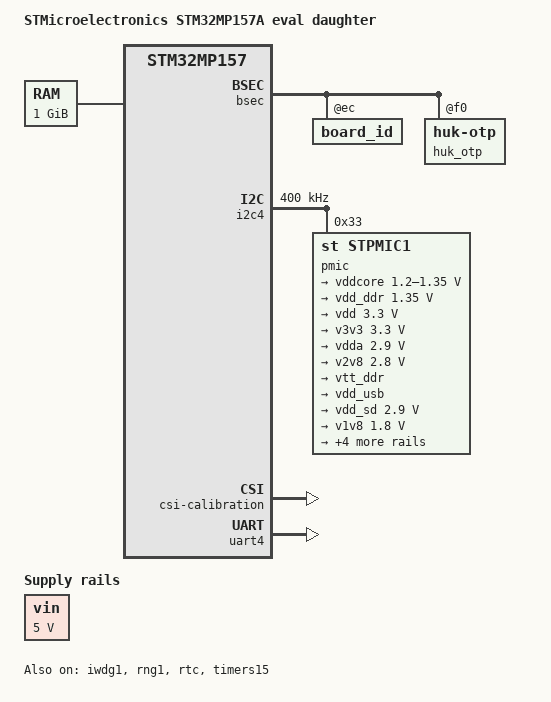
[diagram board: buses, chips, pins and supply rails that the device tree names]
// SPDX-License-Identifier: (GPL-2.0+ OR BSD-3-Clause)
/*
 * Copyright (C) STMicroelectronics 2017-2022 - All Rights Reserved
 * Author: Alexandre Torgue <alexandre.torgue@foss.st.com> for STMicroelectronics.
 */

/dts-v1/;

#include <dt-bindings/clock/stm32mp1-clksrc.h>
#include <dt-bindings/mfd/st,stpmic1.h>
#include <dt-bindings/power/stm32mp1-power.h>
#include <dt-bindings/soc/stm32mp-provisioning.h>
#include <dt-bindings/soc/stm32mp15-etzpc.h>

#include "stm32mp157.dtsi"
#include "stm32mp15xa.dtsi"
#include "stm32mp15-pinctrl.dtsi"
#include "stm32mp15xxaa-pinctrl.dtsi"

/ {

	model = "STMicroelectronics STM32MP157A eval daughter";
	compatible = "st,stm32mp157a-ed1", "st,stm32mp157";

	aliases {
		serial0 = &uart4;
	};

	chosen {
		stdout-path = "serial0:115200n8";
	};

	memory@c0000000 {
		device_type = "memory";
		reg = <0xC0000000 0x40000000>;
	};

	shadow-prov {
		compatible = "st,provisioning";
		hw2_prov {
			nvmem-cells = <&hw2_otp>;
			st,shadow-value = <0x000001E0>;
			st,shadow-lock = <STICKY_LOCK_SR>;
		};
	};

	vin: vin {
		compatible = "regulator-fixed";
		regulator-name = "vin";
		regulator-min-microvolt = <5000000>;
		regulator-max-microvolt = <5000000>;
		regulator-always-on;
	};
};

&bsec {
	board_id: board_id@ec {
		reg = <0xec 0x4>;
		st,non-secure-otp;
	};

	huk_otp: huk-otp@f0 {
		reg = <0xf0 0x10>;
	};
};

&clk_hse {
	st,digbypass;
};

&cpu0{
	cpu-supply = <&vddcore>;
};

&cpu1{
	cpu-supply = <&vddcore>;
};

&etzpc {
	st,decprot = <
		DECPROT(STM32MP1_ETZPC_USART1_ID, DECPROT_NS_RW, DECPROT_UNLOCK)
		DECPROT(STM32MP1_ETZPC_SPI6_ID, DECPROT_NS_RW, DECPROT_UNLOCK)
		DECPROT(STM32MP1_ETZPC_I2C4_ID, DECPROT_NS_RW, DECPROT_UNLOCK)
		DECPROT(STM32MP1_ETZPC_I2C6_ID, DECPROT_NS_RW, DECPROT_UNLOCK)
		DECPROT(STM32MP1_ETZPC_RNG1_ID, DECPROT_S_RW, DECPROT_UNLOCK)
		DECPROT(STM32MP1_ETZPC_HASH1_ID, DECPROT_NS_RW, DECPROT_UNLOCK)
		DECPROT(STM32MP1_ETZPC_DDRCTRL_ID, DECPROT_NS_R_S_W, DECPROT_LOCK)
		DECPROT(STM32MP1_ETZPC_DDRPHYC_ID, DECPROT_NS_R_S_W, DECPROT_LOCK)
		DECPROT(STM32MP1_ETZPC_STGENC_ID, DECPROT_S_RW, DECPROT_LOCK)
		DECPROT(STM32MP1_ETZPC_BKPSRAM_ID, DECPROT_S_RW, DECPROT_LOCK)
		DECPROT(STM32MP1_ETZPC_IWDG1_ID, DECPROT_S_RW, DECPROT_LOCK)
	>;
};

&i2c4 {
	compatible = "st,stm32mp15-i2c-non-secure";
	pinctrl-names = "default";
	pinctrl-0 = <&i2c4_pins_a>;
	i2c-scl-rising-time-ns = <185>;
	i2c-scl-falling-time-ns = <20>;
	clock-frequency = <400000>;
	status = "okay";

	pmic: stpmic@33 {
		compatible = "st,stpmic1";
		reg = <0x33>;
		interrupt-controller;
		#interrupt-cells = <2>;
		status = "okay";

		regulators {
			compatible = "st,stpmic1-regulators";
			buck1-supply = <&vin>;
			buck2-supply = <&vin>;
			buck3-supply = <&vin>;
			buck4-supply = <&vin>;
			ldo1-supply = <&v3v3>;
			ldo2-supply = <&v3v3>;
			ldo3-supply = <&vdd_ddr>;
			ldo4-supply = <&vin>;
			ldo5-supply = <&v3v3>;
			ldo6-supply = <&v3v3>;
			vref_ddr-supply = <&vin>;
			boost-supply = <&vin>;
			pwr_sw1-supply = <&bst_out>;
			pwr_sw2-supply = <&bst_out>;

			vddcore: buck1 {
				regulator-name = "vddcore";
				regulator-min-microvolt = <1200000>;
				regulator-max-microvolt = <1350000>;
				regulator-always-on;
				regulator-initial-mode = <0>;
				regulator-over-current-protection;
			};

			vdd_ddr: buck2 {
				regulator-name = "vdd_ddr";
				regulator-min-microvolt = <1350000>;
				regulator-max-microvolt = <1350000>;
				regulator-always-on;
				regulator-initial-mode = <0>;
				regulator-over-current-protection;
			};

			vdd: buck3 {
				regulator-name = "vdd";
				regulator-min-microvolt = <3300000>;
				regulator-max-microvolt = <3300000>;
				regulator-always-on;
				st,mask-reset;
				regulator-initial-mode = <0>;
				regulator-over-current-protection;
			};

			v3v3: buck4 {
				regulator-name = "v3v3";
				regulator-min-microvolt = <3300000>;
				regulator-max-microvolt = <3300000>;
				regulator-always-on;
				regulator-over-current-protection;
				regulator-initial-mode = <0>;
			};

			vdda: ldo1 {
				regulator-name = "vdda";
				regulator-min-microvolt = <2900000>;
				regulator-max-microvolt = <2900000>;
			};

			v2v8: ldo2 {
				regulator-name = "v2v8";
				regulator-min-microvolt = <2800000>;
				regulator-max-microvolt = <2800000>;
			};

			vtt_ddr: ldo3 {
				regulator-name = "vtt_ddr";
				regulator-always-on;
				regulator-over-current-protection;
				st,regulator-sink-source;
			};

			vdd_usb: ldo4 {
				regulator-name = "vdd_usb";
			};

			vdd_sd: ldo5 {
				regulator-name = "vdd_sd";
				regulator-min-microvolt = <2900000>;
				regulator-max-microvolt = <2900000>;
				regulator-boot-on;
			};

			v1v8: ldo6 {
				regulator-name = "v1v8";
				regulator-min-microvolt = <1800000>;
				regulator-max-microvolt = <1800000>;
			};

			vref_ddr: vref_ddr {
				regulator-name = "vref_ddr";
				regulator-always-on;
				regulator-over-current-protection;
			};

			bst_out: boost {
				regulator-name = "bst_out";
			};

			vbus_otg: pwr_sw1 {
				regulator-name = "vbus_otg";
			};

			vbus_sw: pwr_sw2 {
				regulator-name = "vbus_sw";
				regulator-active-discharge = <1>;
			};
		};
	};
};

&iwdg1 {
	timeout-sec = <32>;
	status = "okay";
};

&osc_calibration {
	csi-calibration {
		status = "okay";
	};

	hsi-calibration {
		status = "okay";
	};
};

&pwr_regulators {
	system_suspend_supported_soc_modes = <
		STM32_PM_CSLEEP_RUN
		STM32_PM_CSTOP_ALLOW_LP_STOP
		STM32_PM_CSTOP_ALLOW_LPLV_STOP
		STM32_PM_CSTOP_ALLOW_STANDBY_DDR_SR
	>;
	system_off_soc_mode = <STM32_PM_CSTOP_ALLOW_STANDBY_DDR_OFF>;
	vdd-supply = <&vdd>;
	vdd_3v3_usbfs-supply = <&vdd_usb>;
};

&rcc {
	st,clksrc = <
		CLK_MPU_PLL1P
		CLK_AXI_PLL2P
		CLK_MCU_PLL3P
		CLK_RTC_LSE
		CLK_MCO1_DISABLED
		CLK_MCO2_DISABLED
		CLK_CKPER_HSE
		CLK_FMC_ACLK
		CLK_QSPI_ACLK
		CLK_ETH_PLL4P
		CLK_SDMMC12_PLL4P
		CLK_DSI_DSIPLL
		CLK_STGEN_HSE
		CLK_USBPHY_HSE
		CLK_SPI2S1_PLL3Q
		CLK_SPI2S23_PLL3Q
		CLK_SPI45_HSI
		CLK_SPI6_HSI
		CLK_I2C46_HSI
		CLK_SDMMC3_PLL4P
		CLK_USBO_USBPHY
		CLK_ADC_CKPER
		CLK_CEC_LSE
		CLK_I2C12_HSI
		CLK_I2C35_HSI
		CLK_UART1_HSI
		CLK_UART24_HSI
		CLK_UART35_HSI
		CLK_UART6_HSI
		CLK_UART78_HSI
		CLK_SPDIF_PLL4P
		CLK_FDCAN_PLL4R
		CLK_SAI1_PLL3Q
		CLK_SAI2_PLL3Q
		CLK_SAI3_PLL3Q
		CLK_SAI4_PLL3Q
		CLK_RNG1_CSI
		CLK_RNG2_LSI
		CLK_LPTIM1_PCLK1
		CLK_LPTIM23_PCLK3
		CLK_LPTIM45_LSE
	>;

	st,clkdiv = <
		DIV(DIV_MPU, 1)
		DIV(DIV_AXI, 0)
		DIV(DIV_MCU, 0)
		DIV(DIV_APB1, 1)
		DIV(DIV_APB2, 1)
		DIV(DIV_APB3, 1)
		DIV(DIV_APB4, 1)
		DIV(DIV_APB5, 2)
		DIV(DIV_RTC, 23)
		DIV(DIV_MCO1, 0)
		DIV(DIV_MCO2, 0)
	>;

	st,pll_vco {
		pll2_vco_1066Mhz: pll2-vco-1066Mhz {
			src = <CLK_PLL12_HSE>;
			divmn = <2 65>;
			frac = <0x1400>;
		};

		pll3_vco_417Mhz: pll3-vco-417Mhz {
			src = <CLK_PLL3_HSE>;
			divmn = <1 33>;
			frac = <0x1a04>;
		};

		pll4_vco_594Mhz: pll4-vco-594Mhz {
			src = <CLK_PLL4_HSE>;
			divmn = <3 98>;
		};
	};

	/* VCO = 1066.0 MHz => P = 266 (AXI), Q = 533 (GPU), R = 533 (DDR) */
	pll2: st,pll@1 {
		compatible = "st,stm32mp1-pll";
		reg = <1>;

		st,pll = <&pll2_cfg1>;

		pll2_cfg1: pll2_cfg1 {
			st,pll_vco = <&pll2_vco_1066Mhz>;
			st,pll_div_pqr = <1 0 0>;
		};
	};

	/* VCO = 417.8 MHz => P = 209, Q = 24, R = 11 */
	pll3: st,pll@2 {
		compatible = "st,stm32mp1-pll";
		reg = <2>;

		st,pll = <&pll3_cfg1>;

		pll3_cfg1: pll3_cfg1 {
			st,pll_vco = <&pll3_vco_417Mhz>;
			st,pll_div_pqr = <1 16 36>;
		};
	};

	/* VCO = 594.0 MHz => P = 99, Q = 74, R = 74 */
	pll4: st,pll@3 {
		compatible = "st,stm32mp1-pll";
		reg = <3>;

		st,pll = <&pll4_cfg1>;

		pll4_cfg1: pll4_cfg1 {
			st,pll_vco = <&pll4_vco_594Mhz>;
			st,pll_div_pqr = <5 7 7>;
		};
	};
};

&rng1 {
	status = "okay";
};

&rtc {
	status = "okay";
};

&timers15 {
	status = "okay";

	counter {
		status = "okay";
	};
};

&uart4 {
	pinctrl-names = "default";
	pinctrl-0 = <&uart4_pins_a>;
	status = "okay";
};

/* Low-power states of regulators */
&v1v8 {
	standby-ddr-sr {
		regulator-off-in-suspend;
	};
	standby-ddr-off {
		regulator-off-in-suspend;
	};
};

&v2v8 {
	standby-ddr-sr {
		regulator-off-in-suspend;
	};
	standby-ddr-off {
		regulator-off-in-suspend;
	};
};

&v3v3 {
	standby-ddr-sr {
		regulator-off-in-suspend;
	};
	standby-ddr-off {
		regulator-off-in-suspend;
	};
};

&vdd {
	lp-stop {
		regulator-suspend-microvolt = <3300000>;
		regulator-on-in-suspend;
	};
	lplv-stop {
		regulator-suspend-microvolt = <3300000>;
		regulator-on-in-suspend;
	};
	standby-ddr-sr {
		regulator-suspend-microvolt = <3300000>;
		regulator-on-in-suspend;
	};
	standby-ddr-off {
		regulator-suspend-microvolt = <3300000>;
		regulator-on-in-suspend;
	};
};

&vdda {
	standby-ddr-sr {
		regulator-off-in-suspend;
	};
	standby-ddr-off {
		regulator-off-in-suspend;
	};
};

&vddcore {
	lp-stop {
		regulator-on-in-suspend;
		regulator-suspend-microvolt = <1200000>;
	};
	lplv-stop {
		regulator-on-in-suspend;
		regulator-suspend-microvolt = <900000>;
	};
	standby-ddr-sr {
		regulator-off-in-suspend;
	};
	standby-ddr-off {
		regulator-off-in-suspend;
	};
};

&vdd_ddr {
	lp-stop {
		regulator-suspend-microvolt = <1350000>;
		regulator-on-in-suspend;
	};
	lplv-stop {
		regulator-suspend-microvolt = <1350000>;
		regulator-on-in-suspend;
	};
	standby-ddr-sr {
		regulator-suspend-microvolt = <1350000>;
		regulator-on-in-suspend;
	};
	standby-ddr-off {
		regulator-off-in-suspend;
	};
};

&vdd_sd {
	standby-ddr-sr {
		regulator-off-in-suspend;
	};
	standby-ddr-off {
		regulator-off-in-suspend;
	};
};

&vdd_usb {
	standby-ddr-sr {
		regulator-off-in-suspend;
	};
	standby-ddr-off {
		regulator-off-in-suspend;
	};
};

&vref_ddr {
	lp-stop {
		regulator-on-in-suspend;
	};
	lplv-stop {
		regulator-on-in-suspend;
	};
	standby-ddr-sr {
		regulator-on-in-suspend;
	};
	standby-ddr-off {
		regulator-off-in-suspend;
	};
};

&vtt_ddr {
	lp-stop {
		regulator-off-in-suspend;
	};
	lplv-stop {
		regulator-off-in-suspend;
	};
	standby-ddr-sr {
		regulator-off-in-suspend;
	};
	standby-ddr-off {
		regulator-off-in-suspend;
	};
};
